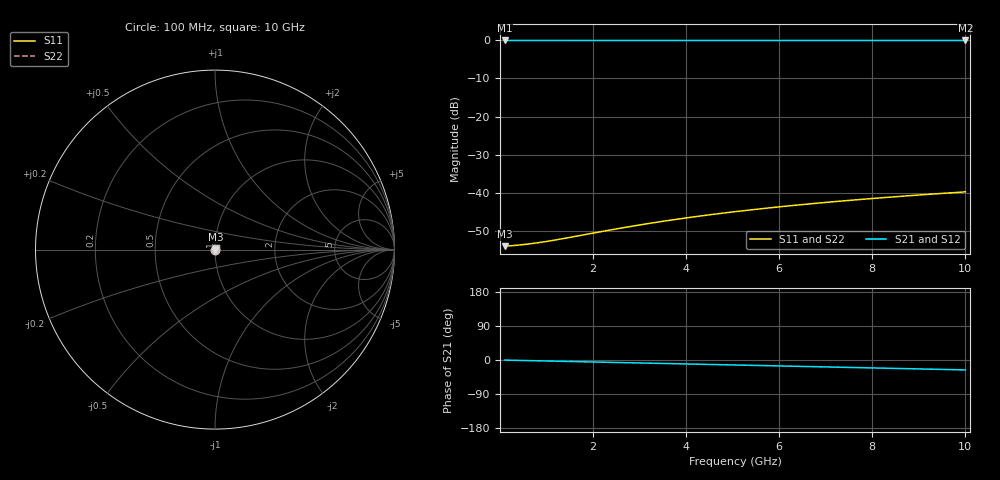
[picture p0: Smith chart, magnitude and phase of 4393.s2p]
# Hz S RI R 50.00
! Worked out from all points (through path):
!   100 points, 100 MHz to 10 GHz, reference 50 ohm
!   highest |S21| = -0.02 dB at 100 MHz (marker M1); lowest = 0.0 dB at 10 GHz (marker M2)
!   group delay of S21, straight-line fit = 7.27 ps
!   lowest |S11| = -54.0 dB at 100 MHz (marker M3), VSWR 1.00, Z = 50.2 + j0.00986 ohm
!   |S11| at or under -10 dB: start of sweep to end of sweep
!   |S22| runs from -54.0 to -39.8 dB; largest |S21 - S12| = 0
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1e8  0.00198 9.82e-05  0.998 -0.00453  0.998 -0.00453  0.00198 9.82e-05
3e8  0.00201 0.000294  0.9979 -0.0136  0.9979 -0.0136  0.00201 0.000294
5e8  0.00202 0.00049  0.9977 -0.0227  0.9977 -0.0227  0.00202 0.00049
8e8  0.00205 0.000782  0.9973 -0.0362  0.9973 -0.0362  0.00205 0.000782
1e9  0.00207 0.000976  0.9969 -0.0453  0.9969 -0.0453  0.00207 0.000976
1.2e9  0.0021 0.00117  0.9964 -0.0544  0.9964 -0.0544  0.0021 0.00117
1.8e9  0.00219 0.00174  0.9945 -0.0815  0.9945 -0.0815  0.00219 0.00174
2.3e9  0.00228 0.00221  0.9924 -0.1041  0.9924 -0.1041  0.00228 0.00221
2.7e9  0.00238 0.00259  0.9903 -0.1221  0.9903 -0.1221  0.00238 0.00259
3.1e9  0.00248 0.00295  0.9879 -0.1401  0.9879 -0.1401  0.00248 0.00295
3.4e9  0.00257 0.00322  0.9859 -0.1536  0.9859 -0.1536  0.00257 0.00322
3.8e9  0.0027 0.00358  0.9829 -0.1716  0.9829 -0.1716  0.0027 0.00358
4.2e9  0.00284 0.00393  0.9796 -0.1895  0.9796 -0.1895  0.00284 0.00393
4.6e9  0.00299 0.00427  0.976 -0.2073  0.976 -0.2073  0.00299 0.00427
5.1e9  0.0032 0.00469  0.971 -0.2295  0.971 -0.2295  0.0032 0.00469
5.5e9  0.00338 0.00502  0.9666 -0.2472  0.9666 -0.2472  0.00338 0.00502
5.9e9  0.00358 0.00534  0.9619 -0.2648  0.9619 -0.2648  0.00358 0.00534
6.7e9  0.004 0.00596  0.9515 -0.2999  0.9515 -0.2999  0.004 0.00596
7.5e9  0.00447 0.00654  0.9398 -0.3345  0.9398 -0.3345  0.00447 0.00654
8.4e9  0.00505 0.00716  0.9252 -0.373  0.9252 -0.373  0.00505 0.00716
9.2e9  0.00562 0.00767  0.9108 -0.4068  0.9108 -0.4068  0.00562 0.00767
1e10  0.00623 0.00815  0.8952 -0.44  0.8952 -0.44  0.00623 0.00815
